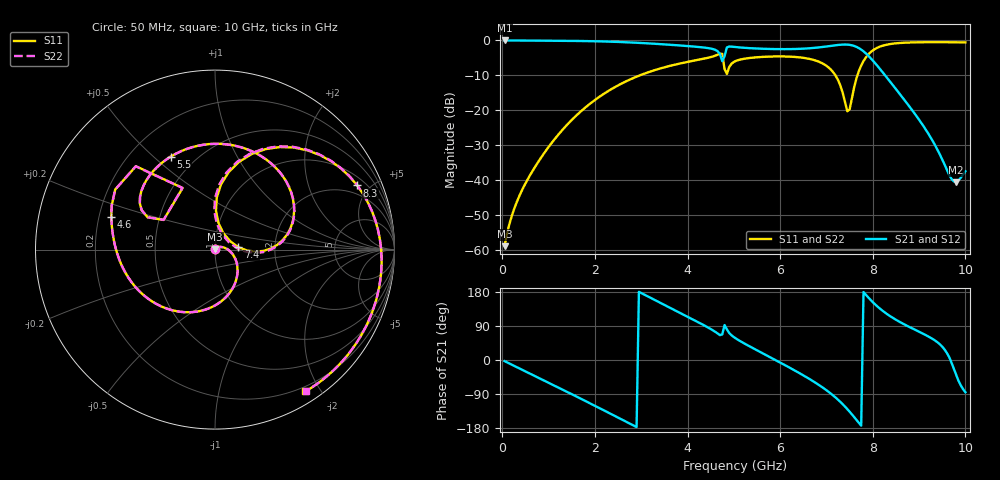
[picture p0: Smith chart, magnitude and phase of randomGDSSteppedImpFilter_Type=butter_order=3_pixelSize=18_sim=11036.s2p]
! freq	dB(S11)	phase(S11)	dB(S12)	phase(S12)
!  dB(S21)	phase(S21)	dB(S22)	phase(S22)
!S-par simulation data
#  GHz  S  DB  R 50
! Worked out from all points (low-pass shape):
!   200 points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, 50 MHz to 10 GHz, reference 50 ohm
!   highest |S21| = -0.01 dB at 50 MHz (marker M1); lowest = -40.6 dB at 9.8 GHz (marker M2)
!   |S21| within 3 dB of the highest: start of sweep to 4.64 GHz; 4.83 GHz to 7.788 GHz (2.958 GHz wide, 46.9 % of centre)
!   lowest |S11| = -58.9 dB at 50 MHz (marker M3), VSWR 1.00, Z = 50.1 + j0.0924 ohm
!   |S11| at or under -10 dB: start of sweep to 2.971 GHz; 7.193 GHz to 7.669 GHz (476.3 MHz wide, 6.41 % of centre)
!   |S22| runs from -58.9 to -0.5 dB; largest |S21 - S12| = 0
!   S11 on the Smith chart (normalised r, x): 50 MHz: 1.00, +0.00; 4.6 GHz: 0.25, +0.14; 5.5 GHz: 0.37, +0.57; 7.4 GHz: 1.30, +0.04; 8.3 GHz: 1.43, +4.18; 10 GHz: 0.14, -1.81
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0.05  -58.93 54.6  -0.01 -3.1  -0.01 -3.1  -58.92 54.2
0.6  -38.58 51.9  -0.05 -35.9  -0.05 -35.9  -38.56 52.2
1.75  -19.70 -15.6  -0.18 -105.5  -0.18 -105.5  -19.70 -15.4
2.6  -12.19 -68.6  -0.48 -158.2  -0.48 -158.2  -12.19 -68.4
3.4  -8.07 -118.5  -1.04 151.8  -1.04 151.8  -8.07 -118.4
4.05  -6.02 -159.0  -1.66 111.3  -1.66 111.3  -6.03 -158.9
4.6  -4.36 162.6  -2.70 74.3  -2.70 74.3  -4.36 162.7
4.7  -3.75 148.9  -3.89 65.7  -3.89 65.7  -3.76 149.0
4.8  -8.23 117.7  -4.48 92.2  -4.48 92.2  -8.20 117.8
5.05  -5.83 144.9  -1.92 56.3  -1.92 56.3  -5.84 144.8
5.5  -4.82 115.5  -2.32 25.6  -2.32 25.6  -4.83 115.4
6.7  -5.50 37.0  -2.18 -55.1  -2.18 -55.1  -5.51 36.6
7.15  -9.19 4.3  -1.46 -94.1  -1.46 -94.1  -9.22 3.2
7.4  -17.64 5.9  -1.18 -122.9  -1.18 -122.9  -18.02 2.9
7.5  -19.80 62.7  -1.27 -136.4  -1.27 -136.4  -20.59 64.9
7.7  -8.76 84.8  -2.20 -165.8  -2.20 -165.8  -8.84 86.4
7.95  -3.40 57.7  -5.01 158.9  -5.01 158.9  -3.42 58.6
8.3  -1.22 24.3  -10.56 121.9  -10.56 121.9  -1.23 24.8
8.35  -1.09 20.4  -11.39 117.7  -11.39 117.7  -1.10 20.9
8.9  -0.55 -13.2  -20.86 80.5  -20.86 80.5  -0.56 -12.8
9.8  -0.53 -50.6  -40.60 -39.5  -40.60 -39.5  -0.53 -50.3
10  -0.56 -57.5  -37.49 -85.0  -37.49 -85.0  -0.56 -57.2
